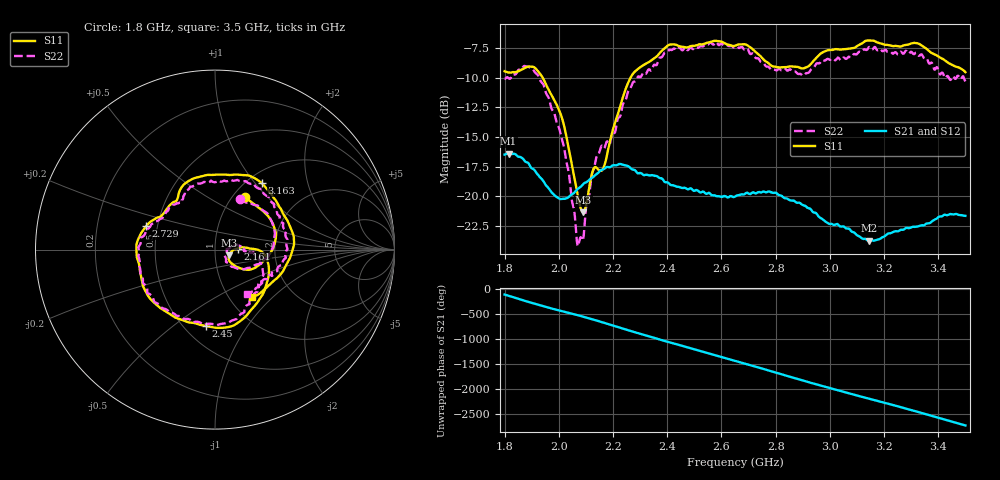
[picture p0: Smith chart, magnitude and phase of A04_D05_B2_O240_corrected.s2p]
! Created with skrf 1.9.0 (http://scikit-rf.org).
# Hz S RI R 50.0
!freq ReS11 ImS11 ReS21 ImS21 ReS12 ImS12 ReS22 ImS22
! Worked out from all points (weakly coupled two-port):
!   1601 points, 1.8 GHz to 3.5 GHz, reference 50 ohm
!   highest |S21| = -16.40 dB at 1.815 GHz (marker M1); lowest = -23.8 dB at 3.144 GHz (marker M2)
!   lowest |S11| = -21.4 dB at 2.09 GHz (marker M3), VSWR 1.19, Z = 58.5 - j3.69 ohm
!   |S11| at or under -10 dB: 1.941 GHz to 2.264 GHz (323.4 MHz wide, 15.4 % of centre)
!   |S22| runs from -24.2 to -7.0 dB; largest |S21 - S12| = 0.0029
!   S11 on the Smith chart (normalised r, x): 1.8 GHz: 1.13, +0.75; 2.161 GHz: 1.30, +0.01; 2.45 GHz: 0.63, -0.66; 2.729 GHz: 0.43, +0.14; 3.163 GHz: 1.16, +1.08; 3.5 GHz: 1.27, -0.75
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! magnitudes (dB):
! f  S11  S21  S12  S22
! 1.8 GHz  -9.4  -16.5  -16.5  -10.1
! 1.815 GHz  -9.5  -16.4  -16.4  -10.0
! 1.881 GHz  -9.1  -17.1  -17.1  -9.0
! 1.942 GHz  -10.1  -18.7  -18.7  -10.5
! 2.013 GHz  -13.5  -20.2  -20.2  -15.3
! 2.068 GHz  -19.7  -19.4  -19.5  -24.0
! 2.084 GHz  -21.2  -19.1  -19.1  -23.6
! 2.09 GHz  -21.4  -19.0  -19.0  -23.6
! 2.128 GHz  -17.7  -18.3  -18.3  -17.7
! 2.161 GHz  -17.8  -17.8  -17.7  -15.8
! 2.261 GHz  -10.1  -17.6  -17.6  -11.0
! 2.367 GHz  -8.0  -18.4  -18.4  -8.5
! 2.45 GHz  -7.4  -19.3  -19.3  -7.6
! 2.65 GHz  -7.3  -20.0  -20.0  -7.4
! 2.729 GHz  -7.9  -19.8  -19.8  -8.3
! 2.801 GHz  -9.1  -19.7  -19.7  -9.4
! 2.934 GHz  -8.7  -21.2  -21.2  -9.2
! 3.144 GHz  -6.8  -23.8  -23.7  -7.4
! 3.163 GHz  -6.9  -23.8  -23.7  -7.4
! 3.217 GHz  -7.2  -23.2  -23.1  -7.8
! 3.326 GHz  -7.1  -22.6  -22.5  -8.1
! 3.5 GHz  -9.5  -21.7  -21.7  -10.3
